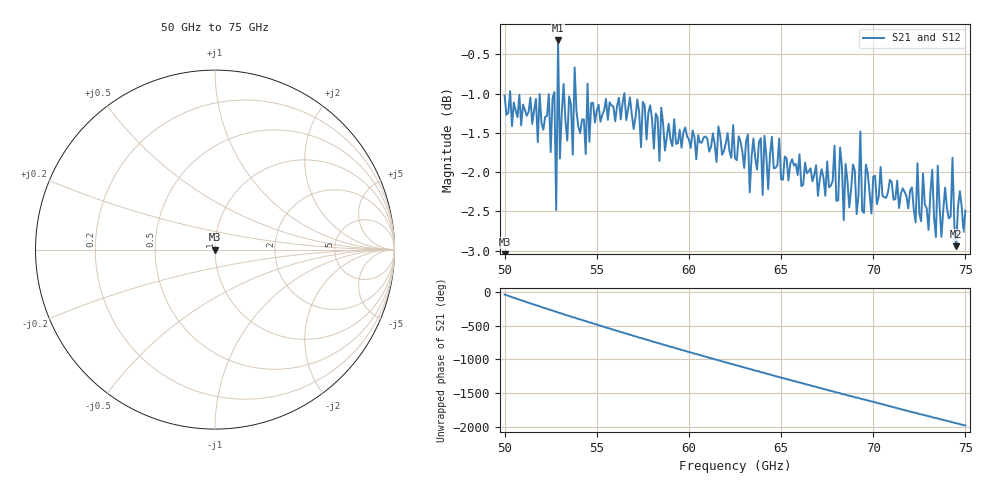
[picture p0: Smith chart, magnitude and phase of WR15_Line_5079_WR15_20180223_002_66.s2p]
# GHZ S RI R 50
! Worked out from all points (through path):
!   251 points, 50 GHz to 75 GHz, reference 50 ohm
!   highest |S21| = -0.32 dB at 52.9 GHz (marker M1); lowest = -2.9 dB at 74.5 GHz (marker M2)
!   lowest |S11| = - dB at 50 GHz (marker M3), VSWR 1.00, Z = 50 + j3.29e-16 ohm
!   |S11| at or under -10 dB: start of sweep to end of sweep
!   |S22| runs from - to - dB; largest |S21 - S12| = 1.4e-15
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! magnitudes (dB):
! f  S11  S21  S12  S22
! 50 GHz  -  -1.0  -1.0  -
! 52.4 GHz  -  -1.0  -1.0  -
! 52.5 GHz  -  -1.7  -1.7  -
! 52.7 GHz  -  -1.0  -1.0  -
! 52.8 GHz  -  -2.5  -2.5  -
! 52.9 GHz  -  -0.3  -0.3  -
! 53 GHz  -  -1.8  -1.8  -
! 53.2 GHz  -  -0.9  -0.9  -
! 54.2 GHz  -  -1.3  -1.3  -
! 58.4 GHz  -  -1.9  -1.9  -
! 58.5 GHz  -  -1.2  -1.2  -
! 62.5 GHz  -  -1.8  -1.8  -
! 66.7 GHz  -  -2.1  -2.1  -
! 70.9 GHz  -  -2.1  -2.1  -
! 73 GHz  -  -2.7  -2.7  -
! 73.2 GHz  -  -2.0  -2.0  -
! 73.4 GHz  -  -2.8  -2.8  -
! 73.5 GHz  -  -1.9  -1.9  -
! 73.7 GHz  -  -2.8  -2.8  -
! 74.3 GHz  -  -1.8  -1.8  -
! 74.5 GHz  -  -2.9  -2.9  -
! 75 GHz  -  -2.5  -2.5  -
